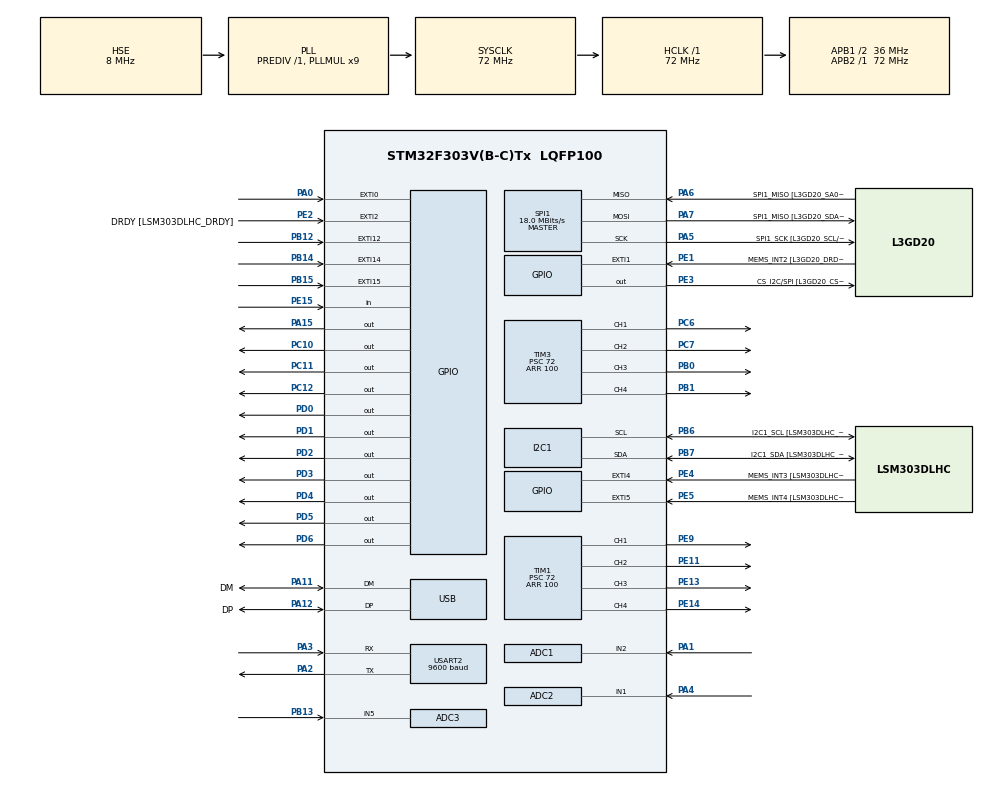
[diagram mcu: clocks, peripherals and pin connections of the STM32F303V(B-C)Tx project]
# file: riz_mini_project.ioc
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ADC1.Channel-0\#ChannelRegularConversion=ADC_CHANNEL_2
ADC1.ClockPrescaler=ADC_CLOCK_ASYNC_DIV1
ADC1.ContinuousConvMode=DISABLE
ADC1.DMAContinuousRequests=DISABLE
ADC1.DataAlign=ADC_DATAALIGN_RIGHT
ADC1.DiscontinuousConvMode=DISABLE
ADC1.EOCSelection=ADC_EOC_SINGLE_CONV
ADC1.EnableAnalogWatchDog1=false
ADC1.EnableAnalogWatchDog2=false
ADC1.EnableAnalogWatchDog3=false
ADC1.EnableInjectedConversion=ENABLE
ADC1.EnableRegularConversion=ENABLE
ADC1.ExternalTrigConv=ADC_SOFTWARE_START
ADC1.ExternalTrigConvEdge=ADC_EXTERNALTRIGCONVEDGE_NONE
ADC1.InjNumberOfConversion=0
ADC1.LowPowerAutoWait=DISABLE
ADC1.NbrOfConversion=1
ADC1.NbrOfConversionFlag=1
ADC1.Offset-0\#ChannelRegularConversion=0
ADC1.OffsetNumber-0\#ChannelRegularConversion=ADC_OFFSET_NONE
ADC1.Overrun=ADC_OVR_DATA_OVERWRITTEN
ADC1.Rank-0\#ChannelRegularConversion=1
ADC1.Resolution=ADC_RESOLUTION_8B
ADC1.SamplingTime-0\#ChannelRegularConversion=ADC_SAMPLETIME_601CYCLES_5
ADC1.ScanConvMode=ADC_SCAN_DISABLE
ADC1.master=1
ADC2.Channel-0\#ChannelRegularConversion=ADC_CHANNEL_1
ADC2.ClockPrescaler=ADC_CLOCK_ASYNC_DIV1
ADC2.ContinuousConvMode=DISABLE
ADC2.DMAContinuousRequests=DISABLE
ADC2.DataAlign=ADC_DATAALIGN_RIGHT
ADC2.DiscontinuousConvMode=DISABLE
ADC2.EOCSelection=ADC_EOC_SINGLE_CONV
ADC2.EnableAnalogWatchDog1=false
ADC2.EnableAnalogWatchDog2=false
ADC2.EnableAnalogWatchDog3=false
ADC2.EnableInjectedConversion=ENABLE
ADC2.EnableRegularConversion=ENABLE
ADC2.ExternalTrigConv=ADC_SOFTWARE_START
ADC2.ExternalTrigConvEdge=ADC_EXTERNALTRIGCONVEDGE_NONE
ADC2.InjNumberOfConversion=0
ADC2.LowPowerAutoWait=DISABLE
ADC2.NbrOfConversion=1
ADC2.NbrOfConversionFlag=1
ADC2.Offset-0\#ChannelRegularConversion=0
ADC2.OffsetNumber-0\#ChannelRegularConversion=ADC_OFFSET_NONE
ADC2.Overrun=ADC_OVR_DATA_OVERWRITTEN
ADC2.Rank-0\#ChannelRegularConversion=1
ADC2.Resolution=ADC_RESOLUTION_8B
ADC2.SamplingTime-0\#ChannelRegularConversion=ADC_SAMPLETIME_601CYCLES_5
ADC2.ScanConvMode=ADC_SCAN_DISABLE
ADC3.Channel-0\#ChannelRegularConversion=ADC_CHANNEL_5
ADC3.ClockPrescaler=ADC_CLOCK_ASYNC_DIV1
ADC3.ContinuousConvMode=DISABLE
ADC3.DMAContinuousRequests=DISABLE
ADC3.DataAlign=ADC_DATAALIGN_RIGHT
ADC3.DiscontinuousConvMode=DISABLE
ADC3.EOCSelection=ADC_EOC_SINGLE_CONV
ADC3.EnableAnalogWatchDog1=false
ADC3.EnableAnalogWatchDog2=false
ADC3.EnableAnalogWatchDog3=false
ADC3.EnableInjectedConversion=ENABLE
ADC3.EnableRegularConversion=ENABLE
ADC3.ExternalTrigConv=ADC_SOFTWARE_START
ADC3.ExternalTrigConvEdge=ADC_EXTERNALTRIGCONVEDGE_NONE
ADC3.InjNumberOfConversion=0
ADC3.LowPowerAutoWait=DISABLE
ADC3.NbrOfConversion=1
ADC3.NbrOfConversionFlag=1
ADC3.Offset-0\#ChannelRegularConversion=0
ADC3.OffsetNumber-0\#ChannelRegularConversion=ADC_OFFSET_NONE
ADC3.Overrun=ADC_OVR_DATA_OVERWRITTEN
ADC3.Rank-0\#ChannelRegularConversion=1
ADC3.Resolution=ADC_RESOLUTION_8B
ADC3.SamplingTime-0\#ChannelRegularConversion=ADC_SAMPLETIME_601CYCLES_5
ADC3.ScanConvMode=ADC_SCAN_DISABLE
ADC3.master=1
I2C1.Timing-I2C=0x2000090E
Mcu.Family=STM32F3
Mcu.Name=STM32F303V(B-C)Tx
Mcu.Package=LQFP100
NVIC.ADC1_2_IRQn=true\:3\:0\:true\:false\:true\:true
NVIC.ADC3_IRQn=true\:0\:0\:false\:false\:true\:true
NVIC.EXTI0_IRQn=true\:1\:0\:true\:false\:true\:true
NVIC.EXTI15_10_IRQn=true\:1\:0\:true\:false\:true\:true
NVIC.PriorityGroup=NVIC_PRIORITYGROUP_3
NVIC.TIM2_IRQn=true\:2\:0\:true\:false\:true\:true
NVIC.TIM4_IRQn=true\:4\:0\:true\:false\:true\:true
NVIC.USART2_IRQn=true\:1\:0\:true\:false\:true\:true
PA0.GPIO_PuPd=GPIO_PULLDOWN
PA0.Signal=GPXTI0
PA1.Mode=IN2-Single-Ended
PA1.Signal=ADC1_IN2
PA11.GPIO_Label=DM
PA11.Mode=Device
PA11.Signal=USB_DM
PA12.GPIO_Label=DP
PA12.Mode=Device
PA12.Signal=USB_DP
PA13.GPIO_Label=SWDIO
PA13.Mode=Serial_Wire
PA13.Signal=SYS_JTMS-SWDIO
PA14.GPIO_Label=SWCLK
PA14.Mode=Serial_Wire
PA14.Signal=SYS_JTCK-SWCLK
PA15.Signal=GPIO_Output
PA2.Mode=Asynchronous
PA2.Signal=USART2_TX
PA3.Mode=Asynchronous
PA3.Signal=USART2_RX
PA4.Mode=IN1-Single-Ended
PA4.Signal=ADC2_IN1
PA5.GPIO_Label=SPI1_SCK [L3GD20_SCL/SPC]
PA5.Mode=Full_Duplex_Master
PA5.Signal=SPI1_SCK
PA6.GPIO_Label=SPI1_MISO [L3GD20_SA0/SDO]
PA6.Mode=Full_Duplex_Master
PA6.Signal=SPI1_MISO
PA7.GPIO_Label=SPI1_MISO [L3GD20_SDA/SDI/SDO]
PA7.Mode=Full_Duplex_Master
PA7.Signal=SPI1_MOSI
PB0.Signal=S_TIM3_CH3
PB1.Signal=S_TIM3_CH4
PB12.Signal=GPXTI12
PB13.Mode=IN5-Single-Ended
PB13.Signal=ADC3_IN5
PB14.Signal=GPXTI14
PB15.Signal=GPXTI15
PB3.GPIO_Label=SWO
PB3.Signal=SYS_JTDO-TRACESWO
PB6.GPIO_Label=I2C1_SCL [LSM303DLHC_SCL]
PB6.Mode=I2C
PB6.Signal=I2C1_SCL
PB7.GPIO_Label=I2C1_SDA [LSM303DLHC_SDA]
PB7.Mode=I2C
PB7.Signal=I2C1_SDA
PC10.Signal=GPIO_Output
PC11.Signal=GPIO_Output
PC12.Signal=GPIO_Output
PC14-OSC32_IN.GPIO_Label=OSC32_IN
PC14-OSC32_IN.Signal=RCC_OSC32_IN
PC15-OSC32_OUT.GPIO_Label=OSC32_OUT
PC15-OSC32_OUT.Signal=RCC_OSC32_OUT
PC6.Signal=S_TIM3_CH1
PC7.Signal=S_TIM3_CH2
PD0.Signal=GPIO_Output
PD1.Signal=GPIO_Output
PD2.Signal=GPIO_Output
PD3.Signal=GPIO_Output
PD4.Signal=GPIO_Output
PD5.Signal=GPIO_Output
PD6.Signal=GPIO_Output
PE1.GPIO_Label=MEMS_INT2 [L3GD20_DRDY/INT2]
PE1.GPIO_ModeDefaultEXTI=GPIO_MODE_EVT_RISING
PE1.Signal=GPXTI1
PE11.Signal=S_TIM1_CH2
PE13.Signal=S_TIM1_CH3
PE14.Signal=S_TIM1_CH4
PE15.Signal=GPIO_Input
PE2.GPIO_Label=DRDY [LSM303DLHC_DRDY]
PE2.GPIO_ModeDefaultEXTI=GPIO_MODE_EVT_RISING
PE2.Signal=GPXTI2
PE3.GPIO_Label=CS_I2C/SPI [L3GD20_CS_I2C/SPI]
PE3.Signal=GPIO_Output
PE4.GPIO_Label=MEMS_INT3 [LSM303DLHC_INT1]
PE4.GPIO_ModeDefaultEXTI=GPIO_MODE_EVT_RISING
PE4.Signal=GPXTI4
PE5.GPIO_Label=MEMS_INT4 [LSM303DLHC_INT2]
PE5.GPIO_ModeDefaultEXTI=GPIO_MODE_EVT_RISING
PE5.Signal=GPXTI5
PE9.Signal=S_TIM1_CH1
PF0-OSC_IN.GPIO_Label=OSC_IN
PF0-OSC_IN.Mode=HSE-External-Clock-Source
PF0-OSC_IN.Signal=RCC_OSC_IN
PF1-OSC_OUT.GPIO_Label=OSC_OUT
PF1-OSC_OUT.Signal=RCC_OSC_OUT
ProjectManager.HeapSize=0x200
ProjectManager.StackSize=0x400
ProjectManager.TargetToolchain=MDK-ARM V5
RCC.AHBFreq_Value=72000000
RCC.APB1CLKDivider=RCC_HCLK_DIV2
RCC.APB1Freq_Value=36000000
RCC.APB1TimFreq_Value=72000000
RCC.APB2Freq_Value=72000000
RCC.APB2TimFreq_Value=72000000
RCC.CortexFreq_Value=72000000
RCC.HCLKFreq_Value=72000000
RCC.HSE_VALUE=8000000
RCC.HSI_VALUE=8000000
RCC.LSE_VALUE=32768
RCC.PLLMUL=RCC_PLL_MUL9
RCC.PRESCALERUSB=RCC_USBCLKSOURCE_PLL_DIV1_5
RCC.SYSCLKFreq_VALUE=72000000
RCC.SYSCLKSourceVirtual=RCC_SYSCLKSOURCE_PLLCLK
RCC.USBFreq_Value=48000000
SH.S_TIM1_CH1.0=TIM1_CH1,PWM Generation1 CH1
SH.S_TIM1_CH2.0=TIM1_CH2,PWM Generation2 CH2
SH.S_TIM1_CH3.0=TIM1_CH3,PWM Generation3 CH3
SH.S_TIM1_CH4.0=TIM1_CH4,PWM Generation4 CH4
SH.S_TIM3_CH1.0=TIM3_CH1,PWM Generation1 CH1
SH.S_TIM3_CH2.0=TIM3_CH2,PWM Generation2 CH2
SH.S_TIM3_CH3.0=TIM3_CH3,PWM Generation3 CH3
SH.S_TIM3_CH4.0=TIM3_CH4,PWM Generation4 CH4
SPI1.BaudRatePrescaler=SPI_BAUDRATEPRESCALER_4
SPI1.BaudRatePrescaler-Full_Duplex_Master=SPI_BAUDRATEPRESCALER_2
SPI1.CalculateBaudRate=18.0 MBits/s
SPI1.CalculateBaudRate-Full_Duplex_Master=24.0 MBits/s
SPI1.Direction=SPI_DIRECTION_2LINES
SPI1.Mode=SPI_MODE_MASTER
SPI1.Mode-Full_Duplex_Master=SPI_MODE_MASTER
SPI1.VirtualType=VM_MASTER
TIM1.Channel-PWM\ Generation1\ CH1=TIM_CHANNEL_1
TIM1.Channel-PWM\ Generation2\ CH2=TIM_CHANNEL_2
TIM1.Channel-PWM\ Generation3\ CH3=TIM_CHANNEL_3
TIM1.Channel-PWM\ Generation4\ CH4=TIM_CHANNEL_4
TIM1.Period=100
TIM1.Prescaler=72
TIM2.Period=1000
TIM2.Prescaler=4000
TIM3.Channel-PWM\ Generation1\ CH1=TIM_CHANNEL_1
TIM3.Channel-PWM\ Generation2\ CH2=TIM_CHANNEL_2
TIM3.Channel-PWM\ Generation3\ CH3=TIM_CHANNEL_3
TIM3.Channel-PWM\ Generation4\ CH4=TIM_CHANNEL_4
TIM3.Period=100
TIM3.Prescaler=72
TIM4.Period=1000
TIM4.Prescaler=4000
USART2.BaudRate=9600
USART2.VirtualMode-Asynchronous=VM_ASYNC
VP_TIM1_VS_ClockSourceINT.Mode=Internal
VP_TIM2_VS_ClockSourceINT.Mode=Internal
VP_TIM3_VS_ClockSourceINT.Mode=Internal
VP_TIM4_VS_ClockSourceINT.Mode=Internal
board=STM32F3DISCOVERY

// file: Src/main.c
/**
  ******************************************************************************
  * @file           : main.c
  * @brief          : Main program body
  ******************************************************************************
  ** This notice applies to any and all portions of this file
  * that are not between comment pairs USER CODE BEGIN and
  * USER CODE END. Other portions of this file, whether
  * inserted by the user or by software development tools
  * are owned by their respective copyright owners.
  *
  * COPYRIGHT(c) 2019 STMicroelectronics
  *
  * Redistribution and use in source and binary forms, with or without modification,
  * are permitted provided that the following conditions are met:
  *   1. Redistributions of source code must retain the above copyright notice,
  *      this list of conditions and the following disclaimer.
  *   2. Redistributions in binary form must reproduce the above copyright notice,
  *      this list of conditions and the following disclaimer in the documentation
  *      and/or other materials provided with the distribution.
  *   3. Neither the name of STMicroelectronics nor the names of its contributors
  *      may be used to endorse or promote products derived from this software
  *      without specific prior written permission.
  *
  * THIS SOFTWARE IS PROVIDED BY THE COPYRIGHT HOLDERS AND CONTRIBUTORS "AS IS"
  * AND ANY EXPRESS OR IMPLIED WARRANTIES, INCLUDING, BUT NOT LIMITED TO, THE
  * IMPLIED WARRANTIES OF MERCHANTABILITY AND FITNESS FOR A PARTICULAR PURPOSE ARE
  * DISCLAIMED. IN NO EVENT SHALL THE COPYRIGHT HOLDER OR CONTRIBUTORS BE LIABLE
  * FOR ANY DIRECT, INDIRECT, INCIDENTAL, SPECIAL, EXEMPLARY, OR CONSEQUENTIAL
  * DAMAGES (INCLUDING, BUT NOT LIMITED TO, PROCUREMENT OF SUBSTITUTE GOODS OR
  * SERVICES; LOSS OF USE, DATA, OR PROFITS; OR BUSINESS INTERRUPTION) HOWEVER
  * CAUSED AND ON ANY THEORY OF LIABILITY, WHETHER IN CONTRACT, STRICT LIABILITY,
  * OR TORT (INCLUDING NEGLIGENCE OR OTHERWISE) ARISING IN ANY WAY OUT OF THE USE
  * OF THIS SOFTWARE, EVEN IF ADVISED OF THE POSSIBILITY OF SUCH DAMAGE.
  *
  ******************************************************************************
  */
#include "main.h"
#include "stm32f3xx_hal.h"

/* USER CODE BEGIN Includes */
#include "LiquidCrystal.h"
typedef unsigned char byte;
/* USER CODE END Includes */

ADC_HandleTypeDef hadc1;
ADC_HandleTypeDef hadc2;
ADC_HandleTypeDef hadc3;

I2C_HandleTypeDef hi2c1;

SPI_HandleTypeDef hspi1;

TIM_HandleTypeDef htim1;
TIM_HandleTypeDef htim2;
TIM_HandleTypeDef htim3;
TIM_HandleTypeDef htim4;

UART_HandleTypeDef huart2;

PCD_HandleTypeDef hpcd_USB_FS;

/* USER CODE BEGIN PV */
/* Private variables ---------------------------------------------------------*/

/* USER CODE END PV */

void SystemClock_Config(void);
static void MX_GPIO_Init(void);
static void MX_I2C1_Init(void);
static void MX_SPI1_Init(void);
static void MX_USB_PCD_Init(void);
static void MX_ADC1_Init(void);
static void MX_ADC2_Init(void);
static void MX_USART2_UART_Init(void);
static void MX_TIM2_Init(void);
static void MX_TIM4_Init(void);
static void MX_TIM1_Init(void);
static void MX_TIM3_Init(void);
static void MX_ADC3_Init(void);

void HAL_TIM_MspPostInit(TIM_HandleTypeDef *htim);

/* USER CODE BEGIN PFP */
/* Private function prototypes -----------------------------------------------*/

/* USER CODE END PFP */

/* USER CODE BEGIN 0 */
	int flag = 0;
	extern int light;
	extern int LEDEnabled;
	extern int LDRorVOL;
	extern int Volume;
	extern int PIREnable;
	//int select = 0;
	int isOnFire = 0;
	unsigned char safe[1];
	unsigned char buffer[100] = "SAFE";
	int position = 0;
	int isMoving = 0;
	int timer2P = 0;
	void HAL_TIM_PeriodElapsedCallback(TIM_HandleTypeDef *htim) {
	if(htim->Instance == TIM2 && LEDEnabled && !LDRorVOL && !PIREnable) {
		__HAL_TIM_SET_COMPARE(&htim1, TIM_CHANNEL_1, (light * 100) / 255);
		__HAL_TIM_SET_COMPARE(&htim1, TIM_CHANNEL_2, (light * 100) / 255);
		__HAL_TIM_SET_COMPARE(&htim1, TIM_CHANNEL_3, (light * 100) / 255);
		__HAL_TIM_SET_COMPARE(&htim1, TIM_CHANNEL_4, (light * 100) / 255);
		__HAL_TIM_SET_COMPARE(&htim3, TIM_CHANNEL_1, (light * 100) / 255);
		__HAL_TIM_SET_COMPARE(&htim3, TIM_CHANNEL_2, (light * 100) / 255);
		__HAL_TIM_SET_COMPARE(&htim3, TIM_CHANNEL_3, (light * 100) / 255);
		__HAL_TIM_SET_COMPARE(&htim3, TIM_CHANNEL_4, (light * 100) / 255);
	}else if(htim -> Instance == TIM2 && LEDEnabled && LDRorVOL && !PIREnable){
		__HAL_TIM_SET_COMPARE(&htim1, TIM_CHANNEL_1, Volume);
		__HAL_TIM_SET_COMPARE(&htim1, TIM_CHANNEL_2, Volume);
		__HAL_TIM_SET_COMPARE(&htim1, TIM_CHANNEL_3, Volume);
		__HAL_TIM_SET_COMPARE(&htim1, TIM_CHANNEL_4, Volume);
		__HAL_TIM_SET_COMPARE(&htim3, TIM_CHANNEL_1, Volume);
		__HAL_TIM_SET_COMPARE(&htim3, TIM_CHANNEL_2, Volume);
		__HAL_TIM_SET_COMPARE(&htim3, TIM_CHANNEL_3, Volume);
		__HAL_TIM_SET_COMPARE(&htim3, TIM_CHANNEL_4, Volume);
	}else if(htim -> Instance == TIM2 && LEDEnabled && PIREnable && isMoving){
		HAL_UART_Transmit(&huart2, "pir", 3, 1000);
		if(timer2P >= 18 * 8){
			isMoving = 0;
			timer2P = 0;

			__HAL_TIM_SET_COMPARE(&htim1, TIM_CHANNEL_1, 0);
			__HAL_TIM_SET_COMPARE(&htim1, TIM_CHANNEL_2, 0);
			__HAL_TIM_SET_COMPARE(&htim1, TIM_CHANNEL_3, 0);
			__HAL_TIM_SET_COMPARE(&htim1, TIM_CHANNEL_4, 0);
			__HAL_TIM_SET_COMPARE(&htim3, TIM_CHANNEL_1, 0);
			__HAL_TIM_SET_COMPARE(&htim3, TIM_CHANNEL_2, 0);
			__HAL_TIM_SET_COMPARE(&htim3, TIM_CHANNEL_3, 0);
			__HAL_TIM_SET_COMPARE(&htim3, TIM_CHANNEL_4, 0);
		}
		else{
			timer2P ++;
			if(!LDRorVOL){

		__HAL_TIM_SET_COMPARE(&htim1, TIM_CHANNEL_1, (light * 100) / 255);
		__HAL_TIM_SET_COMPARE(&htim1, TIM_CHANNEL_2, (light * 100) / 255);
		__HAL_TIM_SET_COMPARE(&htim1, TIM_CHANNEL_3, (light * 100) / 255);
		__HAL_TIM_SET_COMPARE(&htim1, TIM_CHANNEL_4, (light * 100) / 255);
		__HAL_TIM_SET_COMPARE(&htim3, TIM_CHANNEL_1, (light * 100) / 255);
		__HAL_TIM_SET_COMPARE(&htim3, TIM_CHANNEL_2, (light * 100) / 255);
		__HAL_TIM_SET_COMPARE(&htim3, TIM_CHANNEL_3, (light * 100) / 255);
		__HAL_TIM_SET_COMPARE(&htim3, TIM_CHANNEL_4, (light * 100) / 255);
			}
			else{
				__HAL_TIM_SET_COMPARE(&htim1, TIM_CHANNEL_1, Volume);
		__HAL_TIM_SET_COMPARE(&htim1, TIM_CHANNEL_2, Volume);
		__HAL_TIM_SET_COMPARE(&htim1, TIM_CHANNEL_3, Volume);
		__HAL_TIM_SET_COMPARE(&htim1, TIM_CHANNEL_4, Volume);
		__HAL_TIM_SET_COMPARE(&htim3, TIM_CHANNEL_1, Volume);
		__HAL_TIM_SET_COMPARE(&htim3, TIM_CHANNEL_2, Volume);
		__HAL_TIM_SET_COMPARE(&htim3, TIM_CHANNEL_3, Volume);
		__HAL_TIM_SET_COMPARE(&htim3, TIM_CHANNEL_4, Volume);
			}
		}
	}
}

	void HAL_UART_RxCpltCallback(UART_HandleTypeDef *huart){
		HAL_UART_Receive_IT(&huart2, safe, sizeof(safe));
		HAL_GPIO_TogglePin(GPIOE, GPIO_PIN_8);
	unsigned char sent[5] = "safe\n";

	if(safe[0] != 0x0D){
		buffer[position] = safe[0];
		position++;
		buffer[position] = '\0';
		//position++;
	}else{
		//buffer[position += 2] = '\0';
		for(int i = 0; i <= sizeof(buffer) / sizeof(buffer[0]); i++){
			switch(i){
				case 0:
					if(buffer[i] != 'S'){
						HAL_UART_Transmit(&huart2, "Invalid command\n", sizeof(unsigned char) * 16, 1000);
						position = 0;
						return;
					}
					break;
				case 1:
					if(buffer[i] != 'A'){
						HAL_UART_Transmit(&huart2, "Invalid command\n", sizeof(unsigned char) * 16, 1000);
						position = 0;
						return;
					}
					break;
				case 2:
					if(buffer[i] != 'F'){
						HAL_UART_Transmit(&huart2, "Invalid command\n", sizeof(unsigned char) * 16, 1000);
						position = 0;
						return;
					}
					break;
				case 3:
					if(buffer[i] != 'E'){
						HAL_UART_Transmit(&huart2, "Invalid command\n", sizeof(unsigned char) * 16, 1000);
						position = 0;
						return;
					}
					break;
				case 4:
					if(buffer[i] != 0x00){
						HAL_UART_Transmit(&huart2, "Invalid command\n", sizeof(unsigned char) * 16, 1000);
						position = 0;
						return;
					}
					break;
				}

			}
		isOnFire = 0;
		position = 0;
	}
	}

/* USER CODE END 0 */

int main(void)
{

  /* MCU Configuration----------------------------------------------------------*/

  /* Reset of all peripherals, Initializes the Flash interface and the Systick. */
  HAL_Init();

  /* USER CODE BEGIN Init */
	LiquidCrystal(GPIOD, GPIO_PIN_8, GPIO_PIN_9, GPIO_PIN_10, GPIO_PIN_11, GPIO_PIN_12, GPIO_PIN_13, GPIO_PIN_14);
	begin(20, 4);
  /* USER CODE END Init */

  /* Configure the system clock */
  SystemClock_Config();

  /* Initialize all configured peripherals */
  MX_GPIO_Init();
  MX_I2C1_Init();
  MX_SPI1_Init();
  MX_USB_PCD_Init();
  MX_ADC1_Init();
  MX_ADC2_Init();
  MX_USART2_UART_Init();
  MX_TIM2_Init();
  MX_TIM4_Init();
  MX_TIM1_Init();
  MX_TIM3_Init();
  MX_ADC3_Init();
  /* USER CODE BEGIN 2 */

	HAL_UART_Receive_IT(&huart2, safe, sizeof(safe));

	byte dal[] = {
		0x00,
		0x00,
		0x08,
		0x04,
		0x02,
		0x04,
		0x08,
		0x00
	};

	byte ma[] = {
		0x10,
		0x10,
		0x10,
		0x10,
		0x10,
		0x1F,
		0x03,
		0x00
		};

	byte noon[] = {
		0x00,
		0x0A,
		0x02,
		0x1E,
		0x00,
		0x00,
		0x00,
		0x00
	};

	byte oor[] = {
		0x00,
		0x00,
		0x0B,
		0x0B,
		0x09,
		0x12,
		0x00,
		0x00
	};

	byte MenuSelector[] = {
		0x00,
		0x04,
		0x0E,
		0x1F,
		0x0E,
		0x04,
		0x00,
		0x00
	};

	createChar(0, dal);
	createChar(1, ma);
	createChar(2, noon);
	createChar(3, oor);
	createChar(4, MenuSelector);

	setCursor(15, 1);
	print(":");
  write(1);
	write(0);
	setCursor(15, 2);
	print(":");
	write(3);
	write(2);
	HAL_GPIO_WritePin(GPIOE, GPIO_PIN_3, 0);
	HAL_GPIO_WritePin(GPIOE, GPIO_PIN_2, 1);
	HAL_GPIO_WritePin(GPIOE, GPIO_PIN_4, 1);
	//HAL_GPIO_WritePin(GPIOE, GPIO_PIN_10, 1);
	HAL_TIM_Base_Start_IT(&htim2);
	HAL_TIM_Base_Start_IT(&htim4);
	HAL_ADC_Start_IT(&hadc1);
	HAL_ADC_Start_IT(&hadc2);
	HAL_ADC_Start_IT(&hadc3);
	HAL_TIM_PWM_Start(&htim1, TIM_CHANNEL_1);
	HAL_TIM_PWM_Start(&htim1, TIM_CHANNEL_2);
	HAL_TIM_PWM_Start(&htim1, TIM_CHANNEL_3);
	HAL_TIM_PWM_Start(&htim1, TIM_CHANNEL_4);
  HAL_TIM_PWM_Start(&htim3, TIM_CHANNEL_1);
	HAL_TIM_PWM_Start(&htim3, TIM_CHANNEL_2);
	HAL_TIM_PWM_Start(&htim3, TIM_CHANNEL_3);
	HAL_TIM_PWM_Start(&htim3, TIM_CHANNEL_4);

  /* USER CODE END 2 */

  /* Infinite loop */
  while (1)
  {

 }

}

void SystemClock_Config(void)
{

  RCC_OscInitTypeDef RCC_OscInitStruct;
  RCC_ClkInitTypeDef RCC_ClkInitStruct;
  RCC_PeriphCLKInitTypeDef PeriphClkInit;

    /**Initializes the CPU, AHB and APB busses clocks
    */
  RCC_OscInitStruct.OscillatorType = RCC_OSCILLATORTYPE_HSI|RCC_OSCILLATORTYPE_HSE;
  RCC_OscInitStruct.HSEState = RCC_HSE_BYPASS;
  RCC_OscInitStruct.HSEPredivValue = RCC_HSE_PREDIV_DIV1;
  RCC_OscInitStruct.HSIState = RCC_HSI_ON;
  RCC_OscInitStruct.HSICalibrationValue = 16;
  RCC_OscInitStruct.PLL.PLLState = RCC_PLL_ON;
  RCC_OscInitStruct.PLL.PLLSource = RCC_PLLSOURCE_HSE;
  RCC_OscInitStruct.PLL.PLLMUL = RCC_PLL_MUL9;
  if (HAL_RCC_OscConfig(&RCC_OscInitStruct) != HAL_OK)
  {
    _Error_Handler(__FILE__, __LINE__);
  }

    /**Initializes the CPU, AHB and APB busses clocks
    */
  RCC_ClkInitStruct.ClockType = RCC_CLOCKTYPE_HCLK|RCC_CLOCKTYPE_SYSCLK
                              |RCC_CLOCKTYPE_PCLK1|RCC_CLOCKTYPE_PCLK2;
  RCC_ClkInitStruct.SYSCLKSource = RCC_SYSCLKSOURCE_PLLCLK;
  RCC_ClkInitStruct.AHBCLKDivider = RCC_SYSCLK_DIV1;
  RCC_ClkInitStruct.APB1CLKDivider = RCC_HCLK_DIV2;
  RCC_ClkInitStruct.APB2CLKDivider = RCC_HCLK_DIV1;

  if (HAL_RCC_ClockConfig(&RCC_ClkInitStruct, FLASH_LATENCY_2) != HAL_OK)
  {
    _Error_Handler(__FILE__, __LINE__);
  }

  PeriphClkInit.PeriphClockSelection = RCC_PERIPHCLK_USB|RCC_PERIPHCLK_USART2
                              |RCC_PERIPHCLK_I2C1|RCC_PERIPHCLK_TIM1
                              |RCC_PERIPHCLK_ADC12|RCC_PERIPHCLK_ADC34;
  PeriphClkInit.Usart2ClockSelection = RCC_USART2CLKSOURCE_PCLK1;
  PeriphClkInit.Adc12ClockSelection = RCC_ADC12PLLCLK_DIV1;
  PeriphClkInit.Adc34ClockSelection = RCC_ADC34PLLCLK_DIV1;
  PeriphClkInit.I2c1ClockSelection = RCC_I2C1CLKSOURCE_HSI;
  PeriphClkInit.USBClockSelection = RCC_USBCLKSOURCE_PLL_DIV1_5;
  PeriphClkInit.Tim1ClockSelection = RCC_TIM1CLK_HCLK;
  if (HAL_RCCEx_PeriphCLKConfig(&PeriphClkInit) != HAL_OK)
  {
    _Error_Handler(__FILE__, __LINE__);
  }

    /**Configure the Systick interrupt time
    */
  HAL_SYSTICK_Config(HAL_RCC_GetHCLKFreq()/1000);

    /**Configure the Systick
    */
  HAL_SYSTICK_CLKSourceConfig(SYSTICK_CLKSOURCE_HCLK);

  /* SysTick_IRQn interrupt configuration */
  HAL_NVIC_SetPriority(SysTick_IRQn, 0, 0);
}

/* ADC1 init function */
static void MX_ADC1_Init(void)
{

  ADC_MultiModeTypeDef multimode;
  ADC_ChannelConfTypeDef sConfig;

    /**Common config
    */
  hadc1.Instance = ADC1;
  hadc1.Init.ClockPrescaler = ADC_CLOCK_ASYNC_DIV1;
  hadc1.Init.Resolution = ADC_RESOLUTION_8B;
  hadc1.Init.ScanConvMode = ADC_SCAN_DISABLE;
  hadc1.Init.ContinuousConvMode = DISABLE;
  hadc1.Init.DiscontinuousConvMode = DISABLE;
  hadc1.Init.ExternalTrigConvEdge = ADC_EXTERNALTRIGCONVEDGE_NONE;
  hadc1.Init.ExternalTrigConv = ADC_SOFTWARE_START;
  hadc1.Init.DataAlign = ADC_DATAALIGN_RIGHT;
  hadc1.Init.NbrOfConversion = 1;
  hadc1.Init.DMAContinuousRequests = DISABLE;
  hadc1.Init.EOCSelection = ADC_EOC_SINGLE_CONV;
  hadc1.Init.LowPowerAutoWait = DISABLE;
  hadc1.Init.Overrun = ADC_OVR_DATA_OVERWRITTEN;
  if (HAL_ADC_Init(&hadc1) != HAL_OK)
  {
    _Error_Handler(__FILE__, __LINE__);
  }

    /**Configure the ADC multi-mode
    */
  multimode.Mode = ADC_MODE_INDEPENDENT;
  if (HAL_ADCEx_MultiModeConfigChannel(&hadc1, &multimode) != HAL_OK)
  {
    _Error_Handler(__FILE__, __LINE__);
  }

    /**Configure Regular Channel
    */
  sConfig.Channel = ADC_CHANNEL_2;
  sConfig.Rank = ADC_REGULAR_RANK_1;
  sConfig.SingleDiff = ADC_SINGLE_ENDED;
  sConfig.SamplingTime = ADC_SAMPLETIME_601CYCLES_5;
  sConfig.OffsetNumber = ADC_OFFSET_NONE;
  sConfig.Offset = 0;
  if (HAL_ADC_ConfigChannel(&hadc1, &sConfig) != HAL_OK)
  {
    _Error_Handler(__FILE__, __LINE__);
  }

}

/* ADC2 init function */
static void MX_ADC2_Init(void)
{

  ADC_ChannelConfTypeDef sConfig;

    /**Common config
    */
  hadc2.Instance = ADC2;
  hadc2.Init.ClockPrescaler = ADC_CLOCK_ASYNC_DIV1;
  hadc2.Init.Resolution = ADC_RESOLUTION_8B;
  hadc2.Init.ScanConvMode = ADC_SCAN_DISABLE;
  hadc2.Init.ContinuousConvMode = DISABLE;
  hadc2.Init.DiscontinuousConvMode = DISABLE;
  hadc2.Init.ExternalTrigConvEdge = ADC_EXTERNALTRIGCONVEDGE_NONE;
  hadc2.Init.ExternalTrigConv = ADC_SOFTWARE_START;
  hadc2.Init.DataAlign = ADC_DATAALIGN_RIGHT;
  hadc2.Init.NbrOfConversion = 1;
  hadc2.Init.DMAContinuousRequests = DISABLE;
  hadc2.Init.EOCSelection = ADC_EOC_SINGLE_CONV;
  hadc2.Init.LowPowerAutoWait = DISABLE;
  hadc2.Init.Overrun = ADC_OVR_DATA_OVERWRITTEN;
  if (HAL_ADC_Init(&hadc2) != HAL_OK)
  {
    _Error_Handler(__FILE__, __LINE__);
  }

    /**Configure Regular Channel
    */
  sConfig.Channel = ADC_CHANNEL_1;
  sConfig.Rank = ADC_REGULAR_RANK_1;
  sConfig.SingleDiff = ADC_SINGLE_ENDED;
  sConfig.SamplingTime = ADC_SAMPLETIME_601CYCLES_5;
  sConfig.OffsetNumber = ADC_OFFSET_NONE;
  sConfig.Offset = 0;
  if (HAL_ADC_ConfigChannel(&hadc2, &sConfig) != HAL_OK)
  {
    _Error_Handler(__FILE__, __LINE__);
  }

}

/* ADC3 init function */
static void MX_ADC3_Init(void)
{

  ADC_MultiModeTypeDef multimode;
  ADC_ChannelConfTypeDef sConfig;

    /**Common config
    */
  hadc3.Instance = ADC3;
  hadc3.Init.ClockPrescaler = ADC_CLOCK_ASYNC_DIV1;
  hadc3.Init.Resolution = ADC_RESOLUTION_8B;
  hadc3.Init.ScanConvMode = ADC_SCAN_DISABLE;
  hadc3.Init.ContinuousConvMode = DISABLE;
  hadc3.Init.DiscontinuousConvMode = DISABLE;
  hadc3.Init.ExternalTrigConvEdge = ADC_EXTERNALTRIGCONVEDGE_NONE;
  hadc3.Init.ExternalTrigConv = ADC_SOFTWARE_START;
  hadc3.Init.DataAlign = ADC_DATAALIGN_RIGHT;
  hadc3.Init.NbrOfConversion = 1;
  hadc3.Init.DMAContinuousRequests = DISABLE;
  hadc3.Init.EOCSelection = ADC_EOC_SINGLE_CONV;
  hadc3.Init.LowPowerAutoWait = DISABLE;
  hadc3.Init.Overrun = ADC_OVR_DATA_OVERWRITTEN;
  if (HAL_ADC_Init(&hadc3) != HAL_OK)
  {
    _Error_Handler(__FILE__, __LINE__);
  }

    /**Configure the ADC multi-mode
    */
  multimode.Mode = ADC_MODE_INDEPENDENT;
  if (HAL_ADCEx_MultiModeConfigChannel(&hadc3, &multimode) != HAL_OK)
  {
    _Error_Handler(__FILE__, __LINE__);
  }

    /**Configure Regular Channel
    */
  sConfig.Channel = ADC_CHANNEL_5;
  sConfig.Rank = ADC_REGULAR_RANK_1;
  sConfig.SingleDiff = ADC_SINGLE_ENDED;
  sConfig.SamplingTime = ADC_SAMPLETIME_601CYCLES_5;
  sConfig.OffsetNumber = ADC_OFFSET_NONE;
  sConfig.Offset = 0;
  if (HAL_ADC_ConfigChannel(&hadc3, &sConfig) != HAL_OK)
  {
    _Error_Handler(__FILE__, __LINE__);
  }

}

/* I2C1 init function */
static void MX_I2C1_Init(void)
{

  hi2c1.Instance = I2C1;
  hi2c1.Init.Timing = 0x2000090E;
  hi2c1.Init.OwnAddress1 = 0;
  hi2c1.Init.AddressingMode = I2C_ADDRESSINGMODE_7BIT;
  hi2c1.Init.DualAddressMode = I2C_DUALADDRESS_DISABLE;
  hi2c1.Init.OwnAddress2 = 0;
  hi2c1.Init.OwnAddress2Masks = I2C_OA2_NOMASK;
  hi2c1.Init.GeneralCallMode = I2C_GENERALCALL_DISABLE;
  hi2c1.Init.NoStretchMode = I2C_NOSTRETCH_DISABLE;
  if (HAL_I2C_Init(&hi2c1) != HAL_OK)
  {
    _Error_Handler(__FILE__, __LINE__);
  }

    /**Configure Analogue filter
    */
  if (HAL_I2CEx_ConfigAnalogFilter(&hi2c1, I2C_ANALOGFILTER_ENABLE) != HAL_OK)
  {
    _Error_Handler(__FILE__, __LINE__);
  }

    /**Configure Digital filter
    */
  if (HAL_I2CEx_ConfigDigitalFilter(&hi2c1, 0) != HAL_OK)
  {
    _Error_Handler(__FILE__, __LINE__);
  }

}

/* SPI1 init function */
static void MX_SPI1_Init(void)
{

  /* SPI1 parameter configuration*/
  hspi1.Instance = SPI1;
  hspi1.Init.Mode = SPI_MODE_MASTER;
  hspi1.Init.Direction = SPI_DIRECTION_2LINES;
  hspi1.Init.DataSize = SPI_DATASIZE_4BIT;
  hspi1.Init.CLKPolarity = SPI_POLARITY_LOW;
  hspi1.Init.CLKPhase = SPI_PHASE_1EDGE;
  hspi1.Init.NSS = SPI_NSS_SOFT;
  hspi1.Init.BaudRatePrescaler = SPI_BAUDRATEPRESCALER_4;
  hspi1.Init.FirstBit = SPI_FIRSTBIT_MSB;
  hspi1.Init.TIMode = SPI_TIMODE_DISABLE;
  hspi1.Init.CRCCalculation = SPI_CRCCALCULATION_DISABLE;
  hspi1.Init.CRCPolynomial = 7;
  hspi1.Init.CRCLength = SPI_CRC_LENGTH_DATASIZE;
  hspi1.Init.NSSPMode = SPI_NSS_PULSE_ENABLE;
  if (HAL_SPI_Init(&hspi1) != HAL_OK)
  {
    _Error_Handler(__FILE__, __LINE__);
  }

}

/* TIM1 init function */
static void MX_TIM1_Init(void)
{

  TIM_ClockConfigTypeDef sClockSourceConfig;
  TIM_MasterConfigTypeDef sMasterConfig;
  TIM_OC_InitTypeDef sConfigOC;
  TIM_BreakDeadTimeConfigTypeDef sBreakDeadTimeConfig;

  htim1.Instance = TIM1;
  htim1.Init.Prescaler = 72;
  htim1.Init.CounterMode = TIM_COUNTERMODE_UP;
  htim1.Init.Period = 100;
  htim1.Init.ClockDivision = TIM_CLOCKDIVISION_DIV1;
  htim1.Init.RepetitionCounter = 0;
  htim1.Init.AutoReloadPreload = TIM_AUTORELOAD_PRELOAD_DISABLE;
  if (HAL_TIM_Base_Init(&htim1) != HAL_OK)
  {
    _Error_Handler(__FILE__, __LINE__);
  }

  sClockSourceConfig.ClockSource = TIM_CLOCKSOURCE_INTERNAL;
  if (HAL_TIM_ConfigClockSource(&htim1, &sClockSourceConfig) != HAL_OK)
  {
    _Error_Handler(__FILE__, __LINE__);
  }

  if (HAL_TIM_PWM_Init(&htim1) != HAL_OK)
  {
    _Error_Handler(__FILE__, __LINE__);
  }

  sMasterConfig.MasterOutputTrigger = TIM_TRGO_RESET;
  sMasterConfig.MasterOutputTrigger2 = TIM_TRGO2_RESET;
  sMasterConfig.MasterSlaveMode = TIM_MASTERSLAVEMODE_DISABLE;
  if (HAL_TIMEx_MasterConfigSynchronization(&htim1, &sMasterConfig) != HAL_OK)
  {
    _Error_Handler(__FILE__, __LINE__);
  }

  sConfigOC.OCMode = TIM_OCMODE_PWM1;
  sConfigOC.Pulse = 0;
  sConfigOC.OCPolarity = TIM_OCPOLARITY_HIGH;
  sConfigOC.OCNPolarity = TIM_OCNPOLARITY_HIGH;
  sConfigOC.OCFastMode = TIM_OCFAST_DISABLE;
  sConfigOC.OCIdleState = TIM_OCIDLESTATE_RESET;
  sConfigOC.OCNIdleState = TIM_OCNIDLESTATE_RESET;
  if (HAL_TIM_PWM_ConfigChannel(&htim1, &sConfigOC, TIM_CHANNEL_1) != HAL_OK)
  {
    _Error_Handler(__FILE__, __LINE__);
  }

  if (HAL_TIM_PWM_ConfigChannel(&htim1, &sConfigOC, TIM_CHANNEL_2) != HAL_OK)
  {
    _Error_Handler(__FILE__, __LINE__);
  }

  if (HAL_TIM_PWM_ConfigChannel(&htim1, &sConfigOC, TIM_CHANNEL_3) != HAL_OK)
  {
    _Error_Handler(__FILE__, __LINE__);
  }

  if (HAL_TIM_PWM_ConfigChannel(&htim1, &sConfigOC, TIM_CHANNEL_4) != HAL_OK)
  {
    _Error_Handler(__FILE__, __LINE__);
  }

  sBreakDeadTimeConfig.OffStateRunMode = TIM_OSSR_DISABLE;
  sBreakDeadTimeConfig.OffStateIDLEMode = TIM_OSSI_DISABLE;
  sBreakDeadTimeConfig.LockLevel = TIM_LOCKLEVEL_OFF;
  sBreakDeadTimeConfig.DeadTime = 0;
  sBreakDeadTimeConfig.BreakState = TIM_BREAK_DISABLE;
  sBreakDeadTimeConfig.BreakPolarity = TIM_BREAKPOLARITY_HIGH;
  sBreakDeadTimeConfig.BreakFilter = 0;
  sBreakDeadTimeConfig.Break2State = TIM_BREAK2_DISABLE;
  sBreakDeadTimeConfig.Break2Polarity = TIM_BREAK2POLARITY_HIGH;
  sBreakDeadTimeConfig.Break2Filter = 0;
  sBreakDeadTimeConfig.AutomaticOutput = TIM_AUTOMATICOUTPUT_DISABLE;
  if (HAL_TIMEx_ConfigBreakDeadTime(&htim1, &sBreakDeadTimeConfig) != HAL_OK)
  {
    _Error_Handler(__FILE__, __LINE__);
  }

  HAL_TIM_MspPostInit(&htim1);

}

/* TIM2 init function */
static void MX_TIM2_Init(void)
{

  TIM_ClockConfigTypeDef sClockSourceConfig;
  TIM_MasterConfigTypeDef sMasterConfig;

  htim2.Instance = TIM2;
  htim2.Init.Prescaler = 4000;
  htim2.Init.CounterMode = TIM_COUNTERMODE_UP;
  htim2.Init.Period = 1000;
  htim2.Init.ClockDivision = TIM_CLOCKDIVISION_DIV1;
  htim2.Init.AutoReloadPreload = TIM_AUTORELOAD_PRELOAD_DISABLE;
  if (HAL_TIM_Base_Init(&htim2) != HAL_OK)
  {
    _Error_Handler(__FILE__, __LINE__);
  }

  sClockSourceConfig.ClockSource = TIM_CLOCKSOURCE_INTERNAL;
  if (HAL_TIM_ConfigClockSource(&htim2, &sClockSourceConfig) != HAL_OK)
  {
    _Error_Handler(__FILE__, __LINE__);
  }

  sMasterConfig.MasterOutputTrigger = TIM_TRGO_RESET;
  sMasterConfig.MasterSlaveMode = TIM_MASTERSLAVEMODE_DISABLE;
  if (HAL_TIMEx_MasterConfigSynchronization(&htim2, &sMasterConfig) != HAL_OK)
  {
    _Error_Handler(__FILE__, __LINE__);
  }

}

/* TIM3 init function */
static void MX_TIM3_Init(void)
{

  TIM_ClockConfigTypeDef sClockSourceConfig;
  TIM_MasterConfigTypeDef sMasterConfig;
  TIM_OC_InitTypeDef sConfigOC;

  htim3.Instance = TIM3;
  htim3.Init.Prescaler = 72;
  htim3.Init.CounterMode = TIM_COUNTERMODE_UP;
  htim3.Init.Period = 100;
  htim3.Init.ClockDivision = TIM_CLOCKDIVISION_DIV1;
  htim3.Init.AutoReloadPreload = TIM_AUTORELOAD_PRELOAD_DISABLE;
  if (HAL_TIM_Base_Init(&htim3) != HAL_OK)
  {
    _Error_Handler(__FILE__, __LINE__);
  }

  sClockSourceConfig.ClockSource = TIM_CLOCKSOURCE_INTERNAL;
  if (HAL_TIM_ConfigClockSource(&htim3, &sClockSourceConfig) != HAL_OK)
  {
    _Error_Handler(__FILE__, __LINE__);
  }

  if (HAL_TIM_PWM_Init(&htim3) != HAL_OK)
  {
    _Error_Handler(__FILE__, __LINE__);
  }

  sMasterConfig.MasterOutputTrigger = TIM_TRGO_RESET;
  sMasterConfig.MasterSlaveMode = TIM_MASTERSLAVEMODE_DISABLE;
  if (HAL_TIMEx_MasterConfigSynchronization(&htim3, &sMasterConfig) != HAL_OK)
  {
    _Error_Handler(__FILE__, __LINE__);
  }

  sConfigOC.OCMode = TIM_OCMODE_PWM1;
  sConfigOC.Pulse = 0;
  sConfigOC.OCPolarity = TIM_OCPOLARITY_HIGH;
  sConfigOC.OCFastMode = TIM_OCFAST_DISABLE;
  if (HAL_TIM_PWM_ConfigChannel(&htim3, &sConfigOC, TIM_CHANNEL_1) != HAL_OK)
  {
    _Error_Handler(__FILE__, __LINE__);
  }

  if (HAL_TIM_PWM_ConfigChannel(&htim3, &sConfigOC, TIM_CHANNEL_2) != HAL_OK)
  {
    _Error_Handler(__FILE__, __LINE__);
  }

  if (HAL_TIM_PWM_ConfigChannel(&htim3, &sConfigOC, TIM_CHANNEL_3) != HAL_OK)
  {
    _Error_Handler(__FILE__, __LINE__);
  }

  if (HAL_TIM_PWM_ConfigChannel(&htim3, &sConfigOC, TIM_CHANNEL_4) != HAL_OK)
  {
    _Error_Handler(__FILE__, __LINE__);
  }

  HAL_TIM_MspPostInit(&htim3);

}

/* TIM4 init function */
static void MX_TIM4_Init(void)
{

  TIM_ClockConfigTypeDef sClockSourceConfig;
  TIM_MasterConfigTypeDef sMasterConfig;

  htim4.Instance = TIM4;
  htim4.Init.Prescaler = 4000;
  htim4.Init.CounterMode = TIM_COUNTERMODE_UP;
  htim4.Init.Period = 1000;
  htim4.Init.ClockDivision = TIM_CLOCKDIVISION_DIV1;
  htim4.Init.AutoReloadPreload = TIM_AUTORELOAD_PRELOAD_DISABLE;
  if (HAL_TIM_Base_Init(&htim4) != HAL_OK)
  {
    _Error_Handler(__FILE__, __LINE__);
  }

  sClockSourceConfig.ClockSource = TIM_CLOCKSOURCE_INTERNAL;
  if (HAL_TIM_ConfigClockSource(&htim4, &sClockSourceConfig) != HAL_OK)
  {
    _Error_Handler(__FILE__, __LINE__);
  }

  sMasterConfig.MasterOutputTrigger = TIM_TRGO_RESET;
  sMasterConfig.MasterSlaveMode = TIM_MASTERSLAVEMODE_DISABLE;
  if (HAL_TIMEx_MasterConfigSynchronization(&htim4, &sMasterConfig) != HAL_OK)
  {
    _Error_Handler(__FILE__, __LINE__);
  }

}

/* USART2 init function */
static void MX_USART2_UART_Init(void)
{

  huart2.Instance = USART2;
  huart2.Init.BaudRate = 9600;
  huart2.Init.WordLength = UART_WORDLENGTH_8B;
  huart2.Init.StopBits = UART_STOPBITS_1;
  huart2.Init.Parity = UART_PARITY_NONE;
  huart2.Init.Mode = UART_MODE_TX_RX;
  huart2.Init.HwFlowCtl = UART_HWCONTROL_NONE;
  huart2.Init.OverSampling = UART_OVERSAMPLING_16;
  huart2.Init.OneBitSampling = UART_ONE_BIT_SAMPLE_DISABLE;
  huart2.AdvancedInit.AdvFeatureInit = UART_ADVFEATURE_NO_INIT;
  if (HAL_UART_Init(&huart2) != HAL_OK)
  {
    _Error_Handler(__FILE__, __LINE__);
  }

}

/* USB init function */
static void MX_USB_PCD_Init(void)
{

  hpcd_USB_FS.Instance = USB;
  hpcd_USB_FS.Init.dev_endpoints = 8;
  hpcd_USB_FS.Init.speed = PCD_SPEED_FULL;
  hpcd_USB_FS.Init.ep0_mps = DEP0CTL_MPS_64;
  hpcd_USB_FS.Init.phy_itface = PCD_PHY_EMBEDDED;
  hpcd_USB_FS.Init.low_power_enable = DISABLE;
  hpcd_USB_FS.Init.battery_charging_enable = DISABLE;
  if (HAL_PCD_Init(&hpcd_USB_FS) != HAL_OK)
  {
    _Error_Handler(__FILE__, __LINE__);
  }

}

/** Configure pins as
        * Analog
        * Input
        * Output
        * EVENT_OUT
        * EXTI
*/
static void MX_GPIO_Init(void)
{

  GPIO_InitTypeDef GPIO_InitStruct;

  /* GPIO Ports Clock Enable */
  __HAL_RCC_GPIOE_CLK_ENABLE();
  __HAL_RCC_GPIOC_CLK_ENABLE();
  __HAL_RCC_GPIOF_CLK_ENABLE();
  __HAL_RCC_GPIOA_CLK_ENABLE();
  __HAL_RCC_GPIOB_CLK_ENABLE();
  __HAL_RCC_GPIOD_CLK_ENABLE();

  /*Configure GPIO pin Output Level */
  HAL_GPIO_WritePin(CS_I2C_SPI_GPIO_Port, CS_I2C_SPI_Pin, GPIO_PIN_RESET);

  /*Configure GPIO pin Output Level */
  HAL_GPIO_WritePin(GPIOA, GPIO_PIN_15, GPIO_PIN_RESET);

  /*Configure GPIO pin Output Level */
  HAL_GPIO_WritePin(GPIOC, GPIO_PIN_10|GPIO_PIN_11|GPIO_PIN_12, GPIO_PIN_RESET);

  /*Configure GPIO pin Output Level */
  HAL_GPIO_WritePin(GPIOD, GPIO_PIN_0|GPIO_PIN_1|GPIO_PIN_2|GPIO_PIN_3
                          |GPIO_PIN_4|GPIO_PIN_5|GPIO_PIN_6, GPIO_PIN_RESET);

  /*Configure GPIO pins : DRDY_Pin MEMS_INT3_Pin MEMS_INT4_Pin MEMS_INT2_Pin */
  GPIO_InitStruct.Pin = DRDY_Pin|MEMS_INT3_Pin|MEMS_INT4_Pin|MEMS_INT2_Pin;
  GPIO_InitStruct.Mode = GPIO_MODE_EVT_RISING;
  GPIO_InitStruct.Pull = GPIO_NOPULL;
  HAL_GPIO_Init(GPIOE, &GPIO_InitStruct);

  /*Configure GPIO pin : CS_I2C_SPI_Pin */
  GPIO_InitStruct.Pin = CS_I2C_SPI_Pin;
  GPIO_InitStruct.Mode = GPIO_MODE_OUTPUT_PP;
  GPIO_InitStruct.Pull = GPIO_NOPULL;
  GPIO_InitStruct.Speed = GPIO_SPEED_FREQ_LOW;
  HAL_GPIO_Init(CS_I2C_SPI_GPIO_Port, &GPIO_InitStruct);

  /*Configure GPIO pin : PA0 */
  GPIO_InitStruct.Pin = GPIO_PIN_0;
  GPIO_InitStruct.Mode = GPIO_MODE_IT_RISING;
  GPIO_InitStruct.Pull = GPIO_PULLDOWN;
  HAL_GPIO_Init(GPIOA, &GPIO_InitStruct);

  /*Configure GPIO pin : PE15 */
  GPIO_InitStruct.Pin = GPIO_PIN_15;
  GPIO_InitStruct.Mode = GPIO_MODE_INPUT;
  GPIO_InitStruct.Pull = GPIO_NOPULL;
  HAL_GPIO_Init(GPIOE, &GPIO_InitStruct);

  /*Configure GPIO pins : PB12 PB14 PB15 */
  GPIO_InitStruct.Pin = GPIO_PIN_12|GPIO_PIN_14|GPIO_PIN_15;
  GPIO_InitStruct.Mode = GPIO_MODE_IT_RISING;
  GPIO_InitStruct.Pull = GPIO_NOPULL;
  HAL_GPIO_Init(GPIOB, &GPIO_InitStruct);

  /*Configure GPIO pin : PA15 */
  GPIO_InitStruct.Pin = GPIO_PIN_15;
  GPIO_InitStruct.Mode = GPIO_MODE_OUTPUT_PP;
  GPIO_InitStruct.Pull = GPIO_NOPULL;
  GPIO_InitStruct.Speed = GPIO_SPEED_FREQ_LOW;
  HAL_GPIO_Init(GPIOA, &GPIO_InitStruct);

  /*Configure GPIO pins : PC10 PC11 PC12 */
  GPIO_InitStruct.Pin = GPIO_PIN_10|GPIO_PIN_11|GPIO_PIN_12;
  GPIO_InitStruct.Mode = GPIO_MODE_OUTPUT_PP;
  GPIO_InitStruct.Pull = GPIO_NOPULL;
  GPIO_InitStruct.Speed = GPIO_SPEED_FREQ_LOW;
  HAL_GPIO_Init(GPIOC, &GPIO_InitStruct);

  /*Configure GPIO pins : PD0 PD1 PD2 PD3
                           PD4 PD5 PD6 */
  GPIO_InitStruct.Pin = GPIO_PIN_0|GPIO_PIN_1|GPIO_PIN_2|GPIO_PIN_3
                          |GPIO_PIN_4|GPIO_PIN_5|GPIO_PIN_6;
  GPIO_InitStruct.Mode = GPIO_MODE_OUTPUT_PP;
  GPIO_InitStruct.Pull = GPIO_NOPULL;
  GPIO_InitStruct.Speed = GPIO_SPEED_FREQ_LOW;
  HAL_GPIO_Init(GPIOD, &GPIO_InitStruct);

  /* EXTI interrupt init*/
  HAL_NVIC_SetPriority(EXTI0_IRQn, 1, 0);
  HAL_NVIC_EnableIRQ(EXTI0_IRQn);

  HAL_NVIC_SetPriority(EXTI15_10_IRQn, 1, 0);
  HAL_NVIC_EnableIRQ(EXTI15_10_IRQn);

}

void _Error_Handler(char *file, int line)
{
  while(1)
  {
  }
}

/************************ (C) COPYRIGHT STMicroelectronics *****END OF FILE****/
